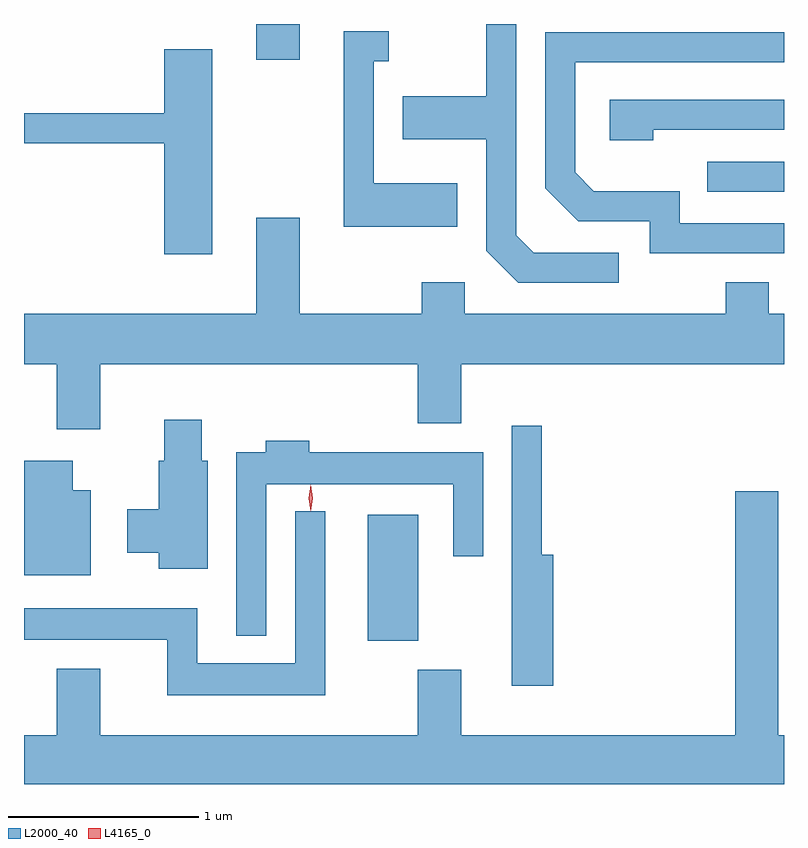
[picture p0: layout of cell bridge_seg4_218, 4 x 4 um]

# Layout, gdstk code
import gdstk
lib = gdstk.Library(unit=1e-6, precision=1e-09)
def R(c, l, rs):  # rectangles x0, y0, x1, y1
    for r in rs: c.add(gdstk.rectangle(r[:2], r[2:], *l))
def P(c, l, *ps):  # polygons
    for p in ps: c.add(gdstk.Polygon(p, *l))
L2000_40 = (2000, 40)
L4165_0 = (4165, 0)

bridge_seg4_218 = lib.new_cell('bridge_seg4_218')
R(bridge_seg4_218, L2000_40, [(1069.586,1288.841,1069.854,1289.504), (1071.373,1291.206,1071.778,1291.364), (1069.001,1291.901,1069.229,1292.088)])
P(bridge_seg4_218, L2000_40, [(1070.908,1290.884),(1070.462,1290.884),(1070.369,1290.977),(1070.369,1292.088),(1070.211,1292.088),(1070.211,1291.709),(1069.771,1291.709),(1069.771,1291.481),(1070.211,1291.481),(1070.211,1290.894),(1070.379,1290.726),(1070.908,1290.726)],
  [(1070.059,1291.249),(1069.619,1291.249),(1069.619,1291.891),(1069.698,1291.891),(1069.698,1292.049),(1069.461,1292.049),(1069.461,1291.021),(1070.059,1291.021)],
  [(1071.778,1291.039),(1071.229,1291.039),(1071.229,1291.209),(1070.777,1291.209),(1070.679,1291.307),(1070.679,1291.886),(1071.778,1291.886),(1071.778,1292.044),(1070.521,1292.044),(1070.521,1291.224),(1070.694,1291.051),(1071.071,1291.051),(1071.071,1290.881),(1071.778,1290.881)],
  [(1068.769,1291.954),(1068.516,1291.954),(1068.516,1291.619),(1067.778,1291.619),(1067.778,1291.461),(1068.516,1291.461),(1068.516,1290.876),(1068.769,1290.876)],
  [(1071.089,1291.531),(1071.778,1291.531),(1071.778,1291.689),(1070.861,1291.689),(1070.861,1291.476),(1071.089,1291.476)],
  [(1068.179,1290.296),(1069.851,1290.296),(1069.851,1289.986),(1070.079,1289.986),(1070.079,1290.296),(1071.778,1290.296),(1071.778,1290.564),(1071.699,1290.564),(1071.699,1290.729),(1071.471,1290.729),(1071.471,1290.564),(1070.099,1290.564),(1070.099,1290.729),(1069.871,1290.729),(1069.871,1290.564),(1069.229,1290.564),(1069.229,1291.069),(1069.001,1291.069),(1069.001,1290.564),(1067.778,1290.564),(1067.778,1290.296),(1067.951,1290.296),(1067.951,1289.956),(1068.179,1289.956)],
  [(1068.744,1289.789),(1068.714,1289.789),(1068.714,1290.004),(1068.516,1290.004),(1068.516,1289.789),(1068.486,1289.789),(1068.486,1289.534),(1068.321,1289.534),(1068.321,1289.306),(1068.486,1289.306),(1068.486,1289.221),(1068.744,1289.221)],
  [(1070.564,1289.294),(1070.504,1289.294),(1070.504,1289.973),(1070.346,1289.973),(1070.346,1288.606),(1070.564,1288.606)],
  [(1069.054,1289.666),(1070.036,1289.666),(1070.036,1289.288),(1070.194,1289.288),(1070.194,1289.834),(1069.279,1289.834),(1069.279,1289.894),(1069.051,1289.894),(1069.051,1289.834),(1068.896,1289.834),(1068.896,1288.868),(1069.054,1288.868)],
  [(1068.129,1289.634),(1068.034,1289.634),(1068.034,1289.789),(1067.778,1289.789),(1067.778,1289.186),(1068.129,1289.186)],
  [(1069.364,1289.523),(1069.206,1289.523),(1069.206,1288.724),(1068.689,1288.724),(1068.689,1289.014),(1067.778,1289.014),(1067.778,1288.846),(1068.531,1288.846),(1068.531,1288.556),(1069.364,1288.556)],
  [(1071.521,1289.629),(1071.521,1288.344),(1070.079,1288.344),(1070.079,1288.689),(1069.851,1288.689),(1069.851,1288.344),(1068.179,1288.344),(1068.179,1288.694),(1067.951,1288.694),(1067.951,1288.344),(1067.778,1288.344),(1067.778,1288.088),(1071.778,1288.088),(1071.778,1288.344),(1071.749,1288.344),(1071.749,1289.629)])
P(bridge_seg4_218, L4165_0, [(1069.287,1289.523),(1069.286,1289.524),(1069.277,1289.593),(1069.286,1289.662),(1069.287,1289.663),(1069.287,1289.662),(1069.297,1289.593),(1069.287,1289.524)])

lib.write_gds('bridge_seg4_218.gds')
